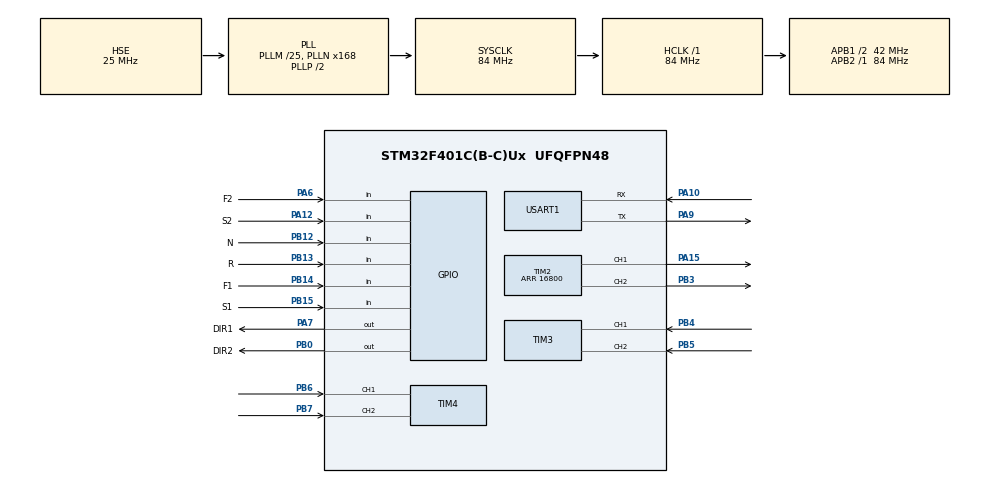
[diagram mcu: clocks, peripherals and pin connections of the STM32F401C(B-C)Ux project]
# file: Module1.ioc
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Dma.Request0=USART1_RX
Dma.Request1=USART1_TX
Dma.USART1_RX.0.Direction=DMA_PERIPH_TO_MEMORY
Dma.USART1_RX.0.FIFOMode=DMA_FIFOMODE_DISABLE
Dma.USART1_RX.0.Instance=DMA2_Stream2
Dma.USART1_RX.0.MemDataAlignment=DMA_MDATAALIGN_BYTE
Dma.USART1_RX.0.MemInc=DMA_MINC_ENABLE
Dma.USART1_RX.0.Mode=DMA_CIRCULAR
Dma.USART1_RX.0.PeriphDataAlignment=DMA_PDATAALIGN_BYTE
Dma.USART1_RX.0.PeriphInc=DMA_PINC_DISABLE
Dma.USART1_RX.0.Priority=DMA_PRIORITY_VERY_HIGH
Dma.USART1_TX.1.Direction=DMA_MEMORY_TO_PERIPH
Dma.USART1_TX.1.FIFOMode=DMA_FIFOMODE_DISABLE
Dma.USART1_TX.1.Instance=DMA2_Stream7
Dma.USART1_TX.1.MemDataAlignment=DMA_MDATAALIGN_BYTE
Dma.USART1_TX.1.MemInc=DMA_MINC_ENABLE
Dma.USART1_TX.1.Mode=DMA_NORMAL
Dma.USART1_TX.1.PeriphDataAlignment=DMA_PDATAALIGN_BYTE
Dma.USART1_TX.1.PeriphInc=DMA_PINC_DISABLE
Dma.USART1_TX.1.Priority=DMA_PRIORITY_VERY_HIGH
FREERTOS.BinarySemaphores01=xStartWorker,Dynamic,NULL
FREERTOS.HEAP_NUMBER=4
FREERTOS.INCLUDE_xTaskAbortDelay=1
FREERTOS.Queues01=xRestartQueue,1,bool,0,Dynamic,NULL,NULL;xTransmissionQueue,1,uint8_t,0,Dynamic,NULL,NULL;xStateQueue,1,uint8_t,0,Dynamic,NULL,NULL
FREERTOS.Tasks01=xuROS,24,2000,uROSTask,Default,NULL,Dynamic,NULL,NULL;xTransmission,24,128,TransmissionTask,Default,NULL,Dynamic,NULL,NULL;xRestart,40,128,RestartTask,Default,NULL,Dynamic,NULL,NULL
FREERTOS.Timers01=xRegulator,Regulator_Callback,osTimerPeriodic,Default,NULL,Dynamic,NULL
FREERTOS.configGENERATE_RUN_TIME_STATS=1
FREERTOS.configRECORD_STACK_HIGH_ADDRESS=1
Mcu.Family=STM32F4
Mcu.Name=STM32F401C(B-C)Ux
Mcu.Package=UFQFPN48
NVIC.DMA2_Stream2_IRQn=true\:5\:0\:false\:false\:true\:true\:false\:true\:true
NVIC.DMA2_Stream7_IRQn=true\:5\:0\:false\:false\:true\:true\:false\:true\:true
NVIC.PriorityGroup=NVIC_PRIORITYGROUP_4
NVIC.TIM1_UP_TIM10_IRQn=true\:15\:0\:false\:false\:true\:false\:false\:true\:true
NVIC.TimeBase=TIM1_UP_TIM10_IRQn
NVIC.TimeBaseIP=TIM1
PA10.Mode=Asynchronous
PA10.Signal=USART1_RX
PA12.GPIO_Label=S2
PA12.GPIO_PuPd=GPIO_PULLUP
PA12.Signal=GPIO_Input
PA15.GPIO_Speed=GPIO_SPEED_FREQ_MEDIUM
PA15.Signal=S_TIM2_CH1_ETR
PA6.GPIO_Label=F2
PA6.GPIO_PuPd=GPIO_PULLUP
PA6.Signal=GPIO_Input
PA7.GPIO_Label=DIR1
PA7.GPIO_Speed=GPIO_SPEED_FREQ_MEDIUM
PA7.Signal=GPIO_Output
PA9.Mode=Asynchronous
PA9.Signal=USART1_TX
PB0.GPIO_Label=DIR2
PB0.GPIO_Speed=GPIO_SPEED_FREQ_MEDIUM
PB0.Signal=GPIO_Output
PB12.GPIO_Label=N
PB12.GPIO_PuPd=GPIO_PULLUP
PB12.Signal=GPIO_Input
PB13.GPIO_Label=R
PB13.GPIO_PuPd=GPIO_PULLUP
PB13.Signal=GPIO_Input
PB14.GPIO_Label=F1
PB14.GPIO_PuPd=GPIO_PULLUP
PB14.Signal=GPIO_Input
PB15.GPIO_Label=S1
PB15.GPIO_PuPd=GPIO_PULLUP
PB15.Signal=GPIO_Input
PB3.GPIO_Speed=GPIO_SPEED_FREQ_MEDIUM
PB3.Signal=S_TIM2_CH2
PB4.GPIO_PuPd=GPIO_PULLUP
PB4.Signal=S_TIM3_CH1
PB5.GPIO_PuPd=GPIO_PULLUP
PB5.Signal=S_TIM3_CH2
PB6.GPIO_PuPd=GPIO_PULLUP
PB6.Signal=S_TIM4_CH1
PB7.GPIO_PuPd=GPIO_PULLUP
PB7.Signal=S_TIM4_CH2
PH0\ -\ OSC_IN.Mode=HSE-External-Oscillator
PH0\ -\ OSC_IN.Signal=RCC_OSC_IN
PH1\ -\ OSC_OUT.Mode=HSE-External-Oscillator
PH1\ -\ OSC_OUT.Signal=RCC_OSC_OUT
ProjectManager.HeapSize=0x200
ProjectManager.StackSize=0x400
ProjectManager.TargetToolchain=Makefile
RCC.48MHZClocksFreq_Value=42000000
RCC.AHBFreq_Value=84000000
RCC.APB1CLKDivider=RCC_HCLK_DIV2
RCC.APB1Freq_Value=42000000
RCC.APB1TimFreq_Value=84000000
RCC.APB2Freq_Value=84000000
RCC.APB2TimFreq_Value=84000000
RCC.CortexFreq_Value=84000000
RCC.HCLKFreq_Value=84000000
RCC.HSE_VALUE=25000000
RCC.HSI_VALUE=16000000
RCC.LSE_VALUE=32768
RCC.PLLM=25
RCC.PLLN=168
RCC.PLLSourceVirtual=RCC_PLLSOURCE_HSE
RCC.SYSCLKFreq_VALUE=84000000
RCC.SYSCLKSource=RCC_SYSCLKSOURCE_PLLCLK
RCC.VCOOutputFreq_Value=168000000
SH.S_TIM2_CH1_ETR.0=TIM2_CH1,PWM Generation1 CH1
SH.S_TIM2_CH2.0=TIM2_CH2,PWM Generation2 CH2
SH.S_TIM3_CH1.0=TIM3_CH1,Encoder_Interface
SH.S_TIM3_CH2.0=TIM3_CH2,Encoder_Interface
SH.S_TIM4_CH1.0=TIM4_CH1,Encoder_Interface
SH.S_TIM4_CH2.0=TIM4_CH2,Encoder_Interface
TIM2.AutoReloadPreload=TIM_AUTORELOAD_PRELOAD_DISABLE
TIM2.Channel-PWM\ Generation1\ CH1=TIM_CHANNEL_1
TIM2.Channel-PWM\ Generation2\ CH2=TIM_CHANNEL_2
TIM2.OCFastMode_PWM-PWM\ Generation1\ CH1=TIM_OCFAST_ENABLE
TIM2.OCFastMode_PWM-PWM\ Generation2\ CH2=TIM_OCFAST_ENABLE
TIM2.OCPolarity_1=TIM_OCPOLARITY_LOW
TIM2.OCPolarity_2=TIM_OCPOLARITY_LOW
TIM2.Period=16800
TIM3.AutoReloadPreload=TIM_AUTORELOAD_PRELOAD_DISABLE
TIM3.EncoderMode=TIM_ENCODERMODE_TI12
TIM3.IC1Filter=0xF
TIM3.IC2Filter=0xF
TIM4.AutoReloadPreload=TIM_AUTORELOAD_PRELOAD_DISABLE
TIM4.EncoderMode=TIM_ENCODERMODE_TI12
USART1.VirtualMode=VM_ASYNC
VP_FREERTOS_VS_CMSIS_V2.Mode=CMSIS_V2
VP_SYS_VS_tim1.Mode=TIM1
board=custom

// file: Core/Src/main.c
/* USER CODE BEGIN Header */
/**
  ******************************************************************************
  * @file           : main.c
  * @brief          : Main program body
  ******************************************************************************
  * @attention
  *
  * Copyright (c) 2022 STMicroelectronics.
  * All rights reserved.
  *
  * This software is licensed under terms that can be found in the LICENSE file
  * in the root directory of this software component.
  * If no LICENSE file comes with this software, it is provided AS-IS.
  *
  ******************************************************************************
  */
/* USER CODE END Header */
#include "main.h"
#include "cmsis_os.h"
#include "dma.h"
#include "tim.h"
#include "usart.h"
#include "gpio.h"

void SystemClock_Config(void);
void MX_FREERTOS_Init(void);

int main(void)
{

  /* MCU Configuration--------------------------------------------------------*/

  /* Reset of all peripherals, Initializes the Flash interface and the Systick. */
  HAL_Init();

  /* Configure the system clock */
  SystemClock_Config();

  /* Initialize all configured peripherals */
  MX_GPIO_Init();
  MX_DMA_Init();
  MX_USART1_UART_Init();
  MX_TIM2_Init();
  MX_TIM3_Init();
  MX_TIM4_Init();
  /* USER CODE BEGIN 2 */
  // Clearing high polarity (bad settings or bug)
  TIM2->CCER &= (0xBB99);

  HAL_TIM_PWM_Start(&htim2, TIM_CHANNEL_1);
  HAL_TIM_PWM_Start(&htim2, TIM_CHANNEL_2);
  HAL_TIM_Encoder_Start(&htim3, TIM_CHANNEL_ALL);
  HAL_TIM_Encoder_Start(&htim4, TIM_CHANNEL_ALL);
  /* USER CODE END 2 */

  /* Init scheduler */
  osKernelInitialize();  /* Call init function for freertos objects (in freertos.c) */
  MX_FREERTOS_Init();

  PID_init();
  Track_init();
  /* Start scheduler */
  osKernelStart();

  /* We should never get here as control is now taken by the scheduler */
  /* Infinite loop */
  while (1)
  {

  }
}

void SystemClock_Config(void)
{
  RCC_OscInitTypeDef RCC_OscInitStruct = {0};
  RCC_ClkInitTypeDef RCC_ClkInitStruct = {0};

  /** Configure the main internal regulator output voltage
  */
  __HAL_RCC_PWR_CLK_ENABLE();
  __HAL_PWR_VOLTAGESCALING_CONFIG(PWR_REGULATOR_VOLTAGE_SCALE2);

  /** Initializes the RCC Oscillators according to the specified parameters
  * in the RCC_OscInitTypeDef structure.
  */
  RCC_OscInitStruct.OscillatorType = RCC_OSCILLATORTYPE_HSE;
  RCC_OscInitStruct.HSEState = RCC_HSE_ON;
  RCC_OscInitStruct.PLL.PLLState = RCC_PLL_ON;
  RCC_OscInitStruct.PLL.PLLSource = RCC_PLLSOURCE_HSE;
  RCC_OscInitStruct.PLL.PLLM = 25;
  RCC_OscInitStruct.PLL.PLLN = 168;
  RCC_OscInitStruct.PLL.PLLP = RCC_PLLP_DIV2;
  RCC_OscInitStruct.PLL.PLLQ = 4;
  if (HAL_RCC_OscConfig(&RCC_OscInitStruct) != HAL_OK)
  {
    Error_Handler();
  }

  /** Initializes the CPU, AHB and APB buses clocks
  */
  RCC_ClkInitStruct.ClockType = RCC_CLOCKTYPE_HCLK|RCC_CLOCKTYPE_SYSCLK
                              |RCC_CLOCKTYPE_PCLK1|RCC_CLOCKTYPE_PCLK2;
  RCC_ClkInitStruct.SYSCLKSource = RCC_SYSCLKSOURCE_PLLCLK;
  RCC_ClkInitStruct.AHBCLKDivider = RCC_SYSCLK_DIV1;
  RCC_ClkInitStruct.APB1CLKDivider = RCC_HCLK_DIV2;
  RCC_ClkInitStruct.APB2CLKDivider = RCC_HCLK_DIV1;

  if (HAL_RCC_ClockConfig(&RCC_ClkInitStruct, FLASH_LATENCY_2) != HAL_OK)
  {
    Error_Handler();
  }
}

void HAL_TIM_PeriodElapsedCallback(TIM_HandleTypeDef *htim)
{
  if (htim->Instance == TIM1) {
    HAL_IncTick();
  }
}

void Error_Handler(void)
{
  __disable_irq();
  while (1)
  {
  }
}

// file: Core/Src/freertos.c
/* USER CODE BEGIN Header */
/**
  ******************************************************************************
  * File Name          : freertos.c
  * Description        : Code for freertos applications
  ******************************************************************************
  * @attention
  *
  * Copyright (c) 2022 STMicroelectronics.
  * All rights reserved.
  *
  * This software is licensed under terms that can be found in the LICENSE file
  * in the root directory of this software component.
  * If no LICENSE file comes with this software, it is provided AS-IS.
  *
  ******************************************************************************
  */
/* USER CODE END Header */

#include "FreeRTOS.h"
#include "task.h"
#include "main.h"
#include "cmsis_os.h"
#include "transmission.h"
#include "pathCoordination.h"
#include "regulator.h"
/* USER CODE BEGIN Includes */
#include <rcl/rcl.h>
#include <rcl/error_handling.h>
#include <rclc/rclc.h>
#include <rclc/executor.h>
#include <uxr/client/transport.h>
#include <rmw_microxrcedds_c/config.h>
#include <rmw_microros/rmw_microros.h>

#include <std_msgs/msg/int8.h>
#include <diagnostic_msgs/msg/diagnostic_array.h>

#include "usart.h"
/* USER CODE END Includes */
PID Regulator[3];

/* USER CODE BEGIN PD */
#define TEST	1
const char *subscriber_name = "TransmissionPosition";
const char *publisher_name = "CarStateResponse";
const int timeout_ms = 250;
const uint8_t attempts = 5;
#define uROS_delayMs				100
#define Regulator_periodMs		    20
#define Tracking_periodMs			40
/* USER CODE END PD */

/* USER CODE BEGIN Variables */
  std_msgs__msg__Int8 msgTransmission;
  diagnostic_msgs__msg__DiagnosticArray msgDiagnostic;
  rcl_ret_t ret;
/* USER CODE END Variables */
/* Definitions for xuROS */
osThreadId_t xuROSHandle;
const osThreadAttr_t xuROS_attributes = {
  .name = "xuROS",
  .stack_size = 2000 * 4,
  .priority = (osPriority_t) osPriorityNormal,
};
/* Definitions for xTransmission */
osThreadId_t xTransmissionHandle;
const osThreadAttr_t xTransmission_attributes = {
  .name = "xTransmission",
  .stack_size = 128 * 4,
  .priority = (osPriority_t) osPriorityNormal,
};
/* Definitions for xRestart */
osThreadId_t xRestartHandle;
const osThreadAttr_t xRestart_attributes = {
  .name = "xRestart",
  .stack_size = 128 * 4,
  .priority = (osPriority_t) osPriorityHigh,
};
/* Definitions for xTransmissionQueue */
osMessageQueueId_t xTransmissionQueueHandle;
const osMessageQueueAttr_t xTransmissionQueue_attributes = {
  .name = "xTransmissionQueue"
};
/* Definitions for xStateQueue */
osMessageQueueId_t xStateQueueHandle;
const osMessageQueueAttr_t xStateQueue_attributes = {
  .name = "xStateQueue"
};
/* Definitions for xRegulator */
osTimerId_t xRegulatorHandle;
const osTimerAttr_t xRegulator_attributes = {
  .name = "xRegulator",
};

osTimerId_t xTrackRegulatorHandle;
const osTimerAttr_t xTrack_attributes = {
		.name = "xTracking",
};
/* Definitions for xRestarthandle */
osSemaphoreId_t xRestartSemaphore;
const osSemaphoreAttr_t xRestartSemaphore_attributes = {
  .name = "xRestartSemaphore",
};

#if(TEST == 1)
osThreadId_t xTestHandle;
const osThreadAttr_t xTest_attributes = {
		.name = "xTest",
		.stack_size = 128 * 4,
		.priority = (osPriority_t) osPriorityNormal,
};
#endif

void uROSTask(void *argument);
void TransmissionTask(void *argument);
void RestartTask(void *argument);
void TestTask(void *argument);
void Regulator_Callback(void *argument);
void Track_Callback(void *argument);

void MX_FREERTOS_Init(void); /* (MISRA C 2004 rule 8.1) */

/* Hook prototypes */
void configureTimerForRunTimeStats(void);
unsigned long getRunTimeCounterValue(void);

/* USER CODE BEGIN 1 */
/* Functions needed when configGENERATE_RUN_TIME_STATS is on */
__weak void configureTimerForRunTimeStats(void)
{

}

__weak unsigned long getRunTimeCounterValue(void)
{
return 0;
}
/* USER CODE END 1 */

osStatus_t status;
void MX_FREERTOS_Init(void) {

  /* Create the semaphores(s) */
  /* Create the timer(s) */
  /* creation of xRegulator */
  xRegulatorHandle = osTimerNew(Regulator_Callback, osTimerPeriodic, NULL, &xRegulator_attributes);
  xTrackRegulatorHandle = osTimerNew(Track_Callback, osTimerPeriodic, NULL, &xTrack_attributes);

  /* Create the queue(s) */
  /* creation of xRestartSemaphore */
  xRestartHandle = osSemaphoreNew(1, 1, &xRestartSemaphore_attributes);

  /* creation of xTransmissionQueue */
  xTransmissionQueueHandle = osMessageQueueNew (1, sizeof(uint8_t), &xTransmissionQueue_attributes);

  /* creation of xStateQueue */
  xStateQueueHandle = osMessageQueueNew (1, sizeof(uint8_t), &xStateQueue_attributes);

  /* Create the thread(s) */
  /* creation of xuROS */
#if(TEST == 0)
  xuROSHandle = osThreadNew(uROSTask, NULL, &xuROS_attributes);
#endif /*TEST*/
  /* creation of xTransmission */
#if(TEST == 0)
  xTransmissionHandle = osThreadNew(TransmissionTask, NULL, &xTransmission_attributes);
#endif /*TEST*/
  /* creation of xRestart */
#if(TEST == 0)
  xRestartHandle = osThreadNew(RestartTask, NULL, &xRestart_attributes);
#endif /*TEST*/
#if (TEST == 1)
  xTestHandle = osThreadNew(TestTask, NULL, &xTest_attributes);
#endif /*TEST*/

}

#if(TEST == 0)
bool cubemx_transport_open(struct uxrCustomTransport * transport);
bool cubemx_transport_close(struct uxrCustomTransport * transport);
size_t cubemx_transport_write(struct uxrCustomTransport* transport, const uint8_t * buf, size_t len, uint8_t * err);
size_t cubemx_transport_read(struct uxrCustomTransport* transport, uint8_t* buf, size_t len, int timeout, uint8_t* err);

void * microros_allocate(size_t size, void * state);
void   microros_deallocate(void * pointer, void * state);
void * microros_reallocate(void * pointer, size_t size, void * state);
void * microros_zero_allocate(size_t number_of_elements, size_t size_of_element, void * state);

void ConstructAnswer(char* message, uint32_t millisec, uint32_t nanosec)
{
	msgDiagnostic.header.stamp.nanosec = nanosec;
	msgDiagnostic.header.stamp.sec = millisec / 1000;
	msgDiagnostic.header.frame_id.data = message;
}

/*!
 * subscription callback function
 * @param msgin new value data from TransmissionPosition subscriber
 */
void subscription_callback(const void* msgin)
{
	const std_msgs__msg__Int8 * msg = (std_msgs__msg__Int8 *)msgin;
	msgTransmission = *msg;
	printf("Received msg from topic \r\n");
}

void uROSTask(void *argument)
{
  /* USER CODE BEGIN uROSTask */
	 rmw_uros_set_custom_transport(
	    true,
	    (void *) &huart1,
	    cubemx_transport_open,
	    cubemx_transport_close,
	    cubemx_transport_write,
	    cubemx_transport_read);

	  rcl_allocator_t freeRTOS_allocator = rcutils_get_zero_initialized_allocator();
	  freeRTOS_allocator.allocate = microros_allocate;
	  freeRTOS_allocator.deallocate = microros_deallocate;
	  freeRTOS_allocator.reallocate = microros_reallocate;
	  freeRTOS_allocator.zero_allocate =  microros_zero_allocate;

	  if (!rcutils_set_default_allocator(&freeRTOS_allocator)) {
	      printf("Error on default allocators (line %d)\n", __LINE__);
	  }

	  // micro-ROS app
	  rcl_publisher_t publisher;
	  rcl_subscription_t subscriber;

	  rclc_support_t support;
	  rcl_allocator_t allocator;
	  rcl_node_t node;

	  allocator = rcl_get_default_allocator();

	  //create init_options
	  rclc_support_init(&support, 0, NULL, &allocator);

	  // create node
	  rclc_node_init_default(&node, "TransmissionModule", "", &support);

	  ret = rclc_publisher_init_default(
	    &publisher,
	    &node,
	    ROSIDL_GET_MSG_TYPE_SUPPORT(diagnostic_msgs, msg, DiagnosticArray),
	    publisher_name);

	  if(RCL_RET_OK != ret) {
		  osSemaphoreRelease(xRestartSemaphore);
	  }

	  ret = rclc_subscription_init_default(
		&subscriber,
		&node,
		ROSIDL_GET_MSG_TYPE_SUPPORT(std_msgs, msg, Int8),
		subscriber_name);

	  rclc_executor_t executor = rclc_executor_get_zero_initialized_executor();
	  ret = rclc_executor_init(&executor, &support.context, 1, &allocator);

	  ret = rclc_executor_add_subscription(&executor, &subscriber, &msgDiagnostic,
			  &subscription_callback, ON_NEW_DATA);
	  if(RCL_RET_OK != ret) { osSemaphoreRelease(xRestartSemaphore); }

	  int64_t time_ns, time_ms = 0;

  /* Infinite loop */
  for(;;)
  {
	  /*!
	   * 1) check ping agent result
	   * 2) check time sync result
	   * 3) get new value from subscriber
	   * 4) publish current value
	   * 5) if new data is new position of transmission -> Start performer task
	   */
	  	rmw_ret_t ping_result = rmw_uros_ping_agent(timeout_ms,attempts);
	  	if(RMW_RET_OK != ping_result) { osSemaphoreRelease(xRestartSemaphore); }

	  	rmw_uros_sync_session(timeout_ms);
	  	if(!rmw_uros_epoch_synchronized()) { osSemaphoreRelease(xRestartSemaphore); }
	  	time_ms = rmw_uros_epoch_millis();
	  	time_ns = rmw_uros_epoch_nanos();

	  	if(RCL_RET_OK != ret) { osSemaphoreRelease(xRestartSemaphore); }
	  	rclc_executor_spin_some(&executor, RCL_MS_TO_NS(50));

	  	/* Send success message with publisher */
	  	ConstructAnswer("[Transmission Module] OK",time_ms, time_ns);
	  	ret = rcl_publish(&publisher, &msgDiagnostic, NULL);

	  	/* Delay after uros-app cycle*/
	  	osDelay( uROS_delayMs / portTICK_RATE_MS);
  }

  ret = rcl_publisher_fini(&publisher,&node);
  ret = rcl_subscription_fini(&subscriber,&node);
  osThreadExit();
  /* USER CODE END uROSTask */
}
#endif /*TEST_0*/

#if(TEST == 1)
/* USER CODE BEGIN Header_TestTask */
void TestTask(void *argument)
{
	osTimerStart(xRegulatorHandle, (Regulator_periodMs / portTICK_RATE_MS));
	osTimerStart(xTrackRegulatorHandle, (Tracking_periodMs / portTICK_RATE_MS));
	PID_start();
	for(;;)
	{
		osDelay(1000 / portTICK_RATE_MS);
		__NOP();
	}
	osThreadExit();
}
/* USER CODE END Header_TestTask */
#endif
#if(TEST == 0)
void TransmissionTask(void *argument)
{
	int8_t *target;
  /* USER CODE BEGIN TransmissionTask */
  /* Infinite loop */
  for(;;)
  {
	  osMessageQueueGet(xTransmissionQueueHandle, &target, NULL, portMAX_DELAY);

//	  if(*target != Transmission.Current_flag)
//	  {
//		  /* Start track manager*/
//		  osTimerStart(xTrackRegulatorHandle,Tracking_periodMs / portTICK_RATE_MS);
//	  }
  }
  osThreadExit();
  /* USER CODE END TransmissionTask */
}

void RestartTask(void *argument)
{
  /* USER CODE BEGIN RestartTask */
  /* Infinite loop */
  for(;;)
  {
	  osSemaphoreAcquire(xRestartSemaphore, portMAX_DELAY);
		  /* Stop current tasks */
		  osThreadSuspend(xuROSHandle);
		  osThreadSuspend(xTransmissionHandle);

		  __NOP();

		  /* delete tasks */
		  osThreadTerminate(xuROSHandle);
		  osThreadTerminate(xTransmissionHandle);

		  /* reset current queues */
		  osMessageQueueReset(xTransmissionQueueHandle);
		  osMessageQueueReset(xStateQueueHandle);

		  /* creating tasks again */
		  xTransmissionHandle = osThreadNew(TransmissionTask, NULL, &xTransmission_attributes);

		  xuROSHandle = osThreadNew(uROSTask, NULL, &xuROS_attributes);
  }
  osThreadExit();
  /* USER CODE END RestartTask */
}
#endif /*TEST_0*/

/* Regulator_Callback function */
/*!
 * Timer for control PID regulator
 * @param argument
 */
void Regulator_Callback(void *argument)
{
  /* USER CODE BEGIN Regulator_Callback */
	ParseEncoderData();
	if(Regulator[0].PID_on)	PID_calc(0);
	if(Regulator[0].PID_on) PID_calc(1);
  /* USER CODE END Regulator_Callback */
}

/* Track_Callback function */
/*!
 * Timer for tracking position
 * @param argument
 */
void Track_Callback(void *argument)
{
	/* USER CODE BEGIN Track_Callback */
	Tracking();
	PID_calc(2);
	/* USER CODE END Track_Callback */
}
